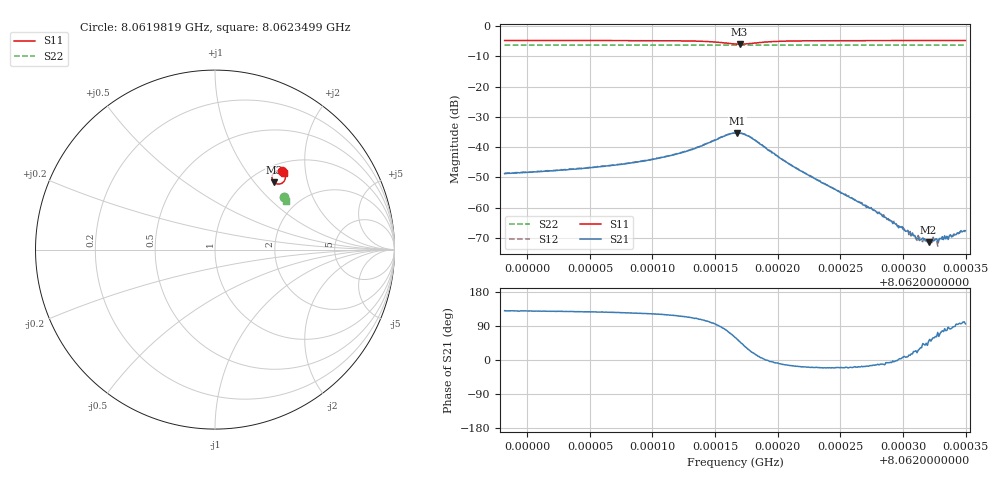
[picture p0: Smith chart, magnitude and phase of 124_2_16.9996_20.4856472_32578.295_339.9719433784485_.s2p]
#  HZ  S  RI  R  50.00
! Rohde & Schwarz Vector Network Analyzer
! Rohde-Schwarz,ZNB20-2Port,1311601062101988,3.16
! Created: UTC 3/20/2024, 10:57:40 PM
! freq[Hz]  re:S11  im:S11  re:S21  im:S21  re:S12  im:S12  re:S22  im:S22
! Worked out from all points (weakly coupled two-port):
!   401 points, 8.0619819 GHz to 8.0623499 GHz, reference 50 ohm
!   highest |S21| = -35.35 dB at 8.0621677 GHz (marker M1); lowest = -71.3 dB at 8.0623204 GHz (marker M2)
!   lowest |S11| = -6.0 dB at 8.0621696 GHz (marker M3), VSWR 3.00, Z = 63.9 + j63.7 ohm
!   |S11| at or under -10 dB: nowhere
!   |S22| runs from -6.4 to -6.3 dB; largest |S21 - S12| = 0.0013
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8.06198191e9  0.3752 0.4364  -0.00235 0.00278  -0.0022 0.00295  0.3865 0.2903
8.06204354e9  0.381 0.4306  -0.0027 0.00351  -0.00248 0.00372  0.3887 0.2872
8.0620785e9  0.3852 0.4254  -0.00303 0.00436  -0.00283 0.00456  0.3898 0.2854
8.06210517e9  0.3889 0.4186  -0.00335 0.00564  -0.00308 0.00589  0.3908 0.2837
8.06213185e9  0.3923 0.4042  -0.00332 0.00849  -0.00285 0.00887  0.3916 0.2818
8.06215945e9  0.3671 0.3674  0.00347 0.0155  0.00455 0.0153  0.3908 0.2795
8.06216589e9  0.344 0.367  0.00861 0.0147  0.00952 0.0143  0.3899 0.2794
8.06216773e9  0.3371 0.3698  0.00994 0.0139  0.011 0.0134  0.3899 0.2797
8.06216957e9  0.3309 0.3741  0.0112 0.0126  0.0121 0.0121  0.3897 0.2798
8.06217877e9  0.3177 0.4057  0.0133 0.00533  0.0136 0.00462  0.3898 0.281
8.06220268e9  0.3459 0.4388  0.00631 -0.00119  0.00628 -0.00157  0.3924 0.2808
8.06222752e9  0.3624 0.4393  0.003 -0.00105  0.00296 -0.00124  0.3937 0.2795
8.06227628e9  0.3751 0.4347  0.000889 -0.000209  0.000878 -0.000271  0.3957 0.2768
8.06228915e9  0.3772 0.4335  0.00061 -7.46e-05  0.000618 -0.0001  0.3962 0.2762
8.06230203e9  0.3789 0.4324  0.000405 5.23e-05  0.000442 3.42e-05  0.3968 0.2754
8.06230939e9  0.3796 0.4319  0.000323 0.000132  0.00033 0.000122  0.397 0.2752
8.06231215e9  0.38 0.4317  0.000286 0.000138  0.000315 0.00015  0.397 0.2749
8.06232043e9  0.381 0.4311  0.000178 0.000205  0.000241 0.000195  0.3973 0.2745
8.06232687e9  0.3816 0.4305  0.000146 0.000268  0.00013 0.000259  0.3976 0.2742
8.06234067e9  0.3828 0.4297  1.22e-05 0.00035  1.78e-05 0.000368  0.3981 0.2734
8.06234711e9  0.3835 0.4291  -5.07e-05 0.000396  -3.37e-05 0.000416  0.3982 0.2731
8.06234987e9  0.3837 0.4289  -4.08e-05 0.000415  -5.4e-05 0.000397  0.3984 0.273
